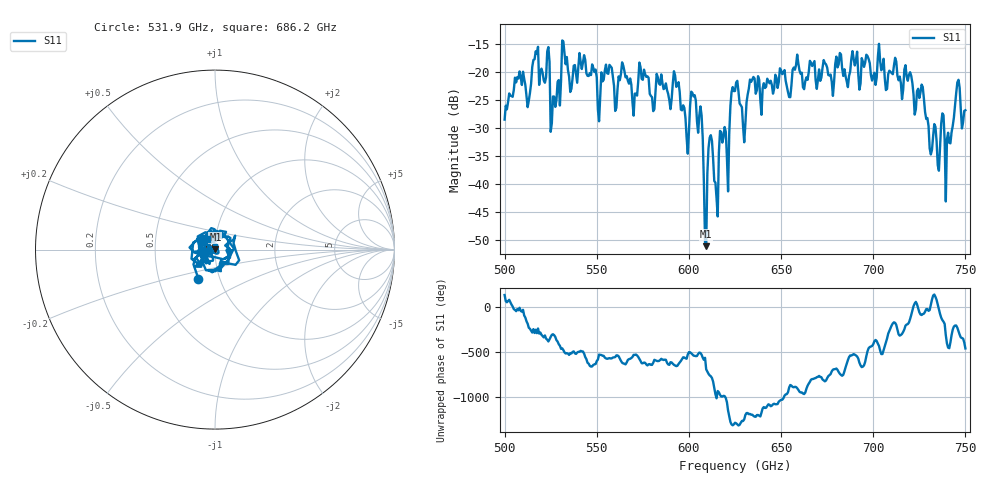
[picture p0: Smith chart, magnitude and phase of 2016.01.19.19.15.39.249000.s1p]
!Created with skrf (http://scikit-rf.org).
# GHz S RI R 50.0
!freq ReS11 ImS11
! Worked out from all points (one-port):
!   401 points, 500 GHz to 750 GHz, reference 50 ohm
!   lowest |S11| = -51.0 dB at 609.4 GHz (marker M1), VSWR 1.01, Z = 50.3 + j0.121 ohm
!   |S11| at or under -10 dB: start of sweep to end of sweep
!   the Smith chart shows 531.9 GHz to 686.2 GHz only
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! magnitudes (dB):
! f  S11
! 500 GHz  -28.5
! 506.9 GHz  -20.9
! 513.1 GHz  -25.1
! 516.9 GHz  -16.3
! 523.1 GHz  -16.4
! 526.2 GHz  -24.4
! 531.2 GHz  -14.4
! 551.9 GHz  -24.3
! 562.5 GHz  -21.5
! 593.8 GHz  -22.4
! 598.8 GHz  -31.7
! 602.5 GHz  -24.4
! 606.2 GHz  -26.2
! 609.4 GHz  -51.0
! 611.2 GHz  -31.7
! 615 GHz  -42.6
! 617.5 GHz  -30.7
! 625 GHz  -23.4
! 629.4 GHz  -29.7
! 634.4 GHz  -21.4
! 656.2 GHz  -19.6
! 687.5 GHz  -19.9
! 718.8 GHz  -21.6
! 735 GHz  -36.6
! 737.5 GHz  -27.4
! 740.6 GHz  -30.8
! 745.6 GHz  -21.9
! 750 GHz  -26.8
